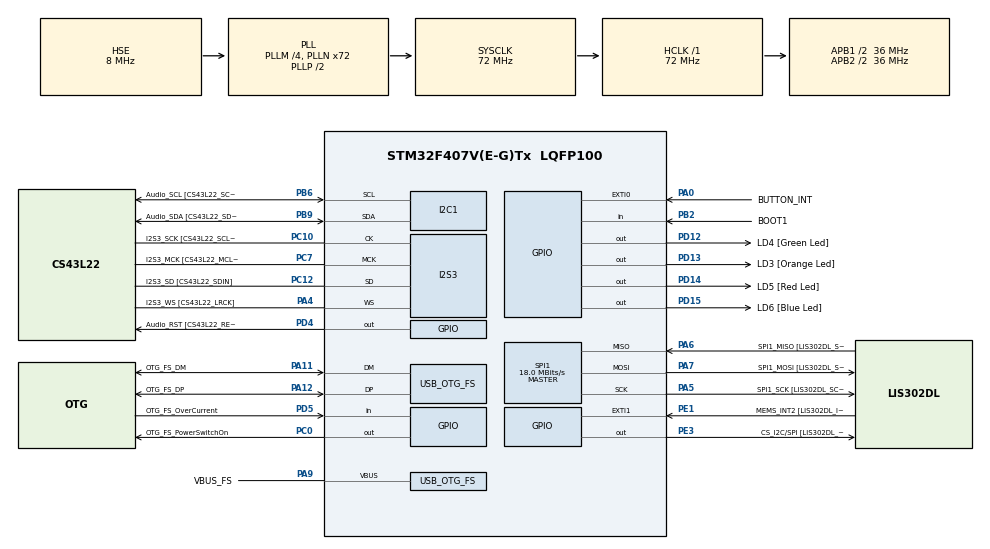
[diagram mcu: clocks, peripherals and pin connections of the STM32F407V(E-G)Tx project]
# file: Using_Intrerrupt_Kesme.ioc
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I2S3.AudioFreq=I2S_AUDIOFREQ_96K
I2S3.AudioFreq-Half_Duplex_Master=I2S_AUDIOFREQ_96K
I2S3.ErrorAudioFreq=- %
I2S3.ErrorAudioFreq-Half_Duplex_Master=0.8 %
I2S3.FullDuplexMode=I2S_FULLDUPLEXMODE_DISABLE
I2S3.Instance=SPI$Index
I2S3.RealAudioFreq=- Hz
I2S3.RealAudioFreq-Half_Duplex_Master=96.774 KHz
I2S3.VirtualMode=I2S_MODE_MASTER
Mcu.Family=STM32F4
Mcu.Name=STM32F407V(E-G)Tx
Mcu.Package=LQFP100
NVIC.EXTI0_IRQn=true\:0\:0\:false\:false\:true\:true\:true\:true
NVIC.OTG_FS_IRQn=true\:0\:0\:false\:false\:true\:true\:true\:true
NVIC.PriorityGroup=NVIC_PRIORITYGROUP_0
PA0-WKUP.GPIO_Label=BUTTON_INT
PA0-WKUP.Signal=GPXTI0
PA10.GPIO_Label=OTG_FS_ID
PA10.GPIO_Mode=GPIO_MODE_AF_PP
PA10.GPIO_PuPd=GPIO_NOPULL
PA10.GPIO_Speed=GPIO_SPEED_FREQ_LOW
PA10.Signal=USB_OTG_FS_ID
PA11.GPIO_Label=OTG_FS_DM
PA11.GPIO_Mode=GPIO_MODE_AF_PP
PA11.GPIO_PuPd=GPIO_NOPULL
PA11.GPIO_Speed=GPIO_SPEED_FREQ_LOW
PA11.Mode=Host_Only
PA11.Signal=USB_OTG_FS_DM
PA12.GPIO_Label=OTG_FS_DP
PA12.GPIO_Mode=GPIO_MODE_AF_PP
PA12.GPIO_PuPd=GPIO_NOPULL
PA12.GPIO_Speed=GPIO_SPEED_FREQ_LOW
PA12.Mode=Host_Only
PA12.Signal=USB_OTG_FS_DP
PA13.GPIO_Label=SWDIO
PA13.Mode=Serial_Wire
PA13.Signal=SYS_JTMS-SWDIO
PA14.GPIO_Label=SWCLK
PA14.Mode=Serial_Wire
PA14.Signal=SYS_JTCK-SWCLK
PA4.GPIO_Label=I2S3_WS [CS43L22_LRCK]
PA4.GPIO_Mode=GPIO_MODE_AF_PP
PA4.GPIO_PuPd=GPIO_NOPULL
PA4.GPIO_Speed=GPIO_SPEED_FREQ_LOW
PA4.Mode=Half_Duplex_Master
PA4.Signal=I2S3_WS
PA5.GPIO_Label=SPI1_SCK [LIS302DL_SCL/SPC]
PA5.GPIO_Mode=GPIO_MODE_AF_PP
PA5.GPIO_PuPd=GPIO_NOPULL
PA5.GPIO_Speed=GPIO_SPEED_FREQ_LOW
PA5.Mode=Full_Duplex_Master
PA5.Signal=SPI1_SCK
PA6.GPIO_Label=SPI1_MISO [LIS302DL_SDO]
PA6.GPIO_Mode=GPIO_MODE_AF_PP
PA6.GPIO_PuPd=GPIO_NOPULL
PA6.GPIO_Speed=GPIO_SPEED_FREQ_LOW
PA6.Mode=Full_Duplex_Master
PA6.Signal=SPI1_MISO
PA7.GPIO_Label=SPI1_MOSI [LIS302DL_SDA/SDI/SDO]
PA7.GPIO_Mode=GPIO_MODE_AF_PP
PA7.GPIO_PuPd=GPIO_NOPULL
PA7.GPIO_Speed=GPIO_SPEED_FREQ_LOW
PA7.Mode=Full_Duplex_Master
PA7.Signal=SPI1_MOSI
PA9.GPIO_Label=VBUS_FS
PA9.GPIO_Mode=GPIO_MODE_INPUT
PA9.GPIO_PuPd=GPIO_NOPULL
PA9.Mode=Activate_VBUS
PA9.Signal=USB_OTG_FS_VBUS
PB10.GPIO_Label=CLK_IN [MP45DT02_CLK]
PB10.GPIO_Mode=GPIO_MODE_AF_PP
PB10.GPIO_PuPd=GPIO_NOPULL
PB10.GPIO_Speed=GPIO_SPEED_FREQ_LOW
PB10.Signal=I2S2_CK
PB2.GPIO_Label=BOOT1
PB2.GPIO_Mode=GPIO_MODE_INPUT
PB2.GPIO_PuPd=GPIO_NOPULL
PB2.Signal=GPIO_Input
PB3.GPIO_Label=SWO
PB3.Signal=SYS_JTDO-SWO
PB6.GPIO_Label=Audio_SCL [CS43L22_SCL]
PB6.GPIO_Mode=GPIO_MODE_AF_OD
PB6.GPIO_Pu=GPIO_PULLUP
PB6.GPIO_PuPd=GPIO_NOPULL
PB6.GPIO_Speed=GPIO_SPEED_FREQ_LOW
PB6.Mode=I2C
PB6.Signal=I2C1_SCL
PB9.GPIO_Label=Audio_SDA [CS43L22_SDA]
PB9.GPIO_Mode=GPIO_MODE_AF_OD
PB9.GPIO_Pu=GPIO_PULLUP
PB9.GPIO_PuPd=GPIO_NOPULL
PB9.GPIO_Speed=GPIO_SPEED_FREQ_LOW
PB9.Mode=I2C
PB9.Signal=I2C1_SDA
PC0.GPIO_Label=OTG_FS_PowerSwitchOn
PC0.GPIO_PuPd=GPIO_NOPULL
PC0.GPIO_Speed=GPIO_SPEED_FREQ_LOW
PC0.PinState=GPIO_PIN_SET
PC0.Signal=GPIO_Output
PC10.GPIO_Label=I2S3_SCK [CS43L22_SCLK]
PC10.GPIO_Mode=GPIO_MODE_AF_PP
PC10.GPIO_PuPd=GPIO_NOPULL
PC10.GPIO_Speed=GPIO_SPEED_FREQ_LOW
PC10.Mode=Half_Duplex_Master
PC10.Signal=I2S3_CK
PC12.GPIO_Label=I2S3_SD [CS43L22_SDIN]
PC12.GPIO_Mode=GPIO_MODE_AF_PP
PC12.GPIO_PuPd=GPIO_NOPULL
PC12.GPIO_Speed=GPIO_SPEED_FREQ_LOW
PC12.Mode=Half_Duplex_Master
PC12.Signal=I2S3_SD
PC14-OSC32_IN.GPIO_Label=PC14-OSC32_IN
PC14-OSC32_IN.Mode=LSE-External-Oscillator
PC14-OSC32_IN.Signal=RCC_OSC32_IN
PC15-OSC32_OUT.GPIO_Label=PC15-OSC32_OUT
PC15-OSC32_OUT.Mode=LSE-External-Oscillator
PC15-OSC32_OUT.Signal=RCC_OSC32_OUT
PC3.GPIO_Label=PDM_OUT [MP45DT02_DOUT]
PC3.GPIO_Mode=GPIO_MODE_AF_PP
PC3.GPIO_PuPd=GPIO_NOPULL
PC3.GPIO_Speed=GPIO_SPEED_FREQ_LOW
PC3.Signal=I2S2_SD
PC7.GPIO_Label=I2S3_MCK [CS43L22_MCLK]
PC7.GPIO_Mode=GPIO_MODE_AF_PP
PC7.GPIO_PuPd=GPIO_NOPULL
PC7.GPIO_Speed=GPIO_SPEED_FREQ_LOW
PC7.Mode=Master_Clock_Activated
PC7.Signal=I2S3_MCK
PD12.GPIO_Label=LD4 [Green Led]
PD12.GPIO_PuPd=GPIO_NOPULL
PD12.GPIO_Speed=GPIO_SPEED_FREQ_LOW
PD12.Signal=GPIO_Output
PD13.GPIO_Label=LD3 [Orange Led]
PD13.GPIO_PuPd=GPIO_NOPULL
PD13.GPIO_Speed=GPIO_SPEED_FREQ_LOW
PD13.Signal=GPIO_Output
PD14.GPIO_Label=LD5 [Red Led]
PD14.GPIO_PuPd=GPIO_NOPULL
PD14.GPIO_Speed=GPIO_SPEED_FREQ_LOW
PD14.Signal=GPIO_Output
PD15.GPIO_Label=LD6 [Blue Led]
PD15.GPIO_PuPd=GPIO_NOPULL
PD15.GPIO_Speed=GPIO_SPEED_FREQ_LOW
PD15.Signal=GPIO_Output
PD4.GPIO_Label=Audio_RST [CS43L22_RESET]
PD4.GPIO_PuPd=GPIO_NOPULL
PD4.GPIO_Speed=GPIO_SPEED_FREQ_LOW
PD4.Signal=GPIO_Output
PD5.GPIO_Label=OTG_FS_OverCurrent
PD5.GPIO_Mode=GPIO_MODE_INPUT
PD5.GPIO_PuPd=GPIO_NOPULL
PD5.Signal=GPIO_Input
PE1.GPIO_Label=MEMS_INT2 [LIS302DL_INT2]
PE1.GPIO_ModeDefaultEXTI=GPIO_MODE_EVT_RISING
PE1.GPIO_PuPd=GPIO_NOPULL
PE1.Signal=GPXTI1
PE3.GPIO_Label=CS_I2C/SPI [LIS302DL_CS_I2C/SPI]
PE3.GPIO_PuPd=GPIO_NOPULL
PE3.GPIO_Speed=GPIO_SPEED_FREQ_LOW
PE3.Signal=GPIO_Output
PH0-OSC_IN.GPIO_Label=PH0-OSC_IN
PH0-OSC_IN.Mode=HSE-External-Oscillator
PH0-OSC_IN.Signal=RCC_OSC_IN
PH1-OSC_OUT.GPIO_Label=PH1-OSC_OUT
PH1-OSC_OUT.Mode=HSE-External-Oscillator
PH1-OSC_OUT.Signal=RCC_OSC_OUT
ProjectManager.HeapSize=0x200
ProjectManager.StackSize=0x400
ProjectManager.TargetToolchain=STM32CubeIDE
RCC.48MHZClocksFreq_Value=48000000
RCC.AHBFreq_Value=72000000
RCC.APB1CLKDivider=RCC_HCLK_DIV2
RCC.APB1Freq_Value=36000000
RCC.APB1TimFreq_Value=72000000
RCC.APB2CLKDivider=RCC_HCLK_DIV2
RCC.APB2Freq_Value=36000000
RCC.APB2TimFreq_Value=72000000
RCC.CortexFreq_Value=72000000
RCC.HCLKFreq_Value=72000000
RCC.HSE_VALUE=8000000
RCC.HSI_VALUE=16000000
RCC.PLLI2SN=50
RCC.PLLM=4
RCC.PLLN=72
RCC.PLLQ=3
RCC.SYSCLKFreq_VALUE=72000000
RCC.SYSCLKSource=RCC_SYSCLKSOURCE_PLLCLK
RCC.VCOOutputFreq_Value=144000000
SPI1.BaudRatePrescaler-Full_Duplex_Master=SPI_BAUDRATEPRESCALER_2
SPI1.CalculateBaudRate=18.0 MBits/s
SPI1.CalculateBaudRate-Full_Duplex_Master=42.0 MBits/s
SPI1.Direction=SPI_DIRECTION_2LINES
SPI1.Mode=SPI_MODE_MASTER
SPI1.Mode-Full_Duplex_Master=SPI_MODE_MASTER
SPI1.VirtualType=VM_MASTER
TIM1.Prescaler=1440-1
USB_HOST.BSP.number=1
USB_HOST.USBH_HandleTypeDef-CDC_FS=hUsbHostFS
USB_HOST.VirtualModeFS=Cdc
USB_HOST0.BSP.STBoard=false
USB_HOST0.BSP.api=Unknown
USB_HOST0.BSP.instance=PC0
USB_HOST0.BSP.ip=GPIO
USB_HOST0.BSP.mode=Output
USB_HOST0.BSP.name=Drive_VBUS_FS
USB_HOST0.BSP.solution=PC0
USB_OTG_FS.VirtualMode=Host_Only
USB_OTG_FS.phy_itface=HCD_PHY_EMBEDDED
VP_TIM1_VS_ClockSourceINT.Mode=Internal
VP_USB_HOST_VS_USB_HOST_CDC_FS.Mode=CDC_FS
board=STM32F407G-DISC1

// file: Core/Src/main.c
/* USER CODE BEGIN Header */
/**
  ******************************************************************************
  * @file           : main.c
  * @brief          : Main program body
  ******************************************************************************
  * @attention
  *
  * Copyright (c) 2024 STMicroelectronics.
  * All rights reserved.
  *
  * This software is licensed under terms that can be found in the LICENSE file
  * in the root directory of this software component.
  * If no LICENSE file comes with this software, it is provided AS-IS.
  *
  ******************************************************************************
  */
/* USER CODE END Header */
#include "main.h"
#include "usb_host.h"

I2C_HandleTypeDef hi2c1;

I2S_HandleTypeDef hi2s3;

SPI_HandleTypeDef hspi1;

TIM_HandleTypeDef htim1;

/* USER CODE BEGIN PV */

int delay = 250;

/* USER CODE END PV */

void SystemClock_Config(void);
static void MX_GPIO_Init(void);
static void MX_I2C1_Init(void);
static void MX_I2S3_Init(void);
static void MX_SPI1_Init(void);
static void MX_TIM1_Init(void);
void MX_USB_HOST_Process(void);

int main(void)
{

  /* MCU Configuration--------------------------------------------------------*/

  /* Reset of all peripherals, Initializes the Flash interface and the Systick. */
  HAL_Init();

  /* Configure the system clock */
  SystemClock_Config();

  /* Initialize all configured peripherals */
  MX_GPIO_Init();
  MX_I2C1_Init();
  MX_I2S3_Init();
  MX_SPI1_Init();
  MX_USB_HOST_Init();
  MX_TIM1_Init();

  /* Infinite loop */
  while (1)
  {
    MX_USB_HOST_Process();

    /* USER CODE BEGIN 3 */

        		HAL_Delay(delay);
     	    	HAL_GPIO_WritePin(LD4_GPIO_Port, LD4_Pin, 1);
        		HAL_Delay(delay);
     	    	HAL_GPIO_WritePin(LD3_GPIO_Port, LD3_Pin, 1);
        		HAL_Delay(delay);
     	    	HAL_GPIO_WritePin(LD5_GPIO_Port, LD5_Pin, 1);
        		HAL_Delay(delay);
     	    	HAL_GPIO_WritePin(LD6_GPIO_Port, LD6_Pin, 1);
        		HAL_Delay(delay);
     	    	HAL_GPIO_WritePin(LD4_GPIO_Port, LD4_Pin, 0);
        		HAL_Delay(delay);
     	    	HAL_GPIO_WritePin(LD3_GPIO_Port, LD3_Pin, 0);
        		HAL_Delay(delay);
     	    	HAL_GPIO_WritePin(LD5_GPIO_Port, LD5_Pin, 0);
        		HAL_Delay(delay);
        		HAL_GPIO_WritePin(LD6_GPIO_Port, LD6_Pin, 0);
        		HAL_Delay(delay);
        		 	    	HAL_GPIO_WritePin(LD6_GPIO_Port, LD6_Pin, 1);
        		    		HAL_Delay(delay);
        		 	    	HAL_GPIO_WritePin(LD5_GPIO_Port, LD5_Pin, 1);
        		    		HAL_Delay(delay);
        		 	    	HAL_GPIO_WritePin(LD3_GPIO_Port, LD3_Pin, 1);
        		    		HAL_Delay(delay);
        		 	    	HAL_GPIO_WritePin(LD4_GPIO_Port, LD4_Pin, 1);
        		    		HAL_Delay(delay);
        		 	    	HAL_GPIO_WritePin(LD6_GPIO_Port, LD6_Pin, 0);
        		    		HAL_Delay(delay);
        		 	    	HAL_GPIO_WritePin(LD5_GPIO_Port, LD5_Pin, 0);
        		    		HAL_Delay(delay);
        		 	    	HAL_GPIO_WritePin(LD3_GPIO_Port, LD3_Pin, 0);
        		    		HAL_Delay(delay);
        		    		HAL_GPIO_WritePin(LD4_GPIO_Port, LD4_Pin, 0);
        		    		HAL_Delay(delay);

  }
  /* USER CODE END 3 */
}

void SystemClock_Config(void)
{
  RCC_OscInitTypeDef RCC_OscInitStruct = {0};
  RCC_ClkInitTypeDef RCC_ClkInitStruct = {0};

  /** Configure the main internal regulator output voltage
  */
  __HAL_RCC_PWR_CLK_ENABLE();
  __HAL_PWR_VOLTAGESCALING_CONFIG(PWR_REGULATOR_VOLTAGE_SCALE1);

  /** Initializes the RCC Oscillators according to the specified parameters
  * in the RCC_OscInitTypeDef structure.
  */
  RCC_OscInitStruct.OscillatorType = RCC_OSCILLATORTYPE_HSE;
  RCC_OscInitStruct.HSEState = RCC_HSE_ON;
  RCC_OscInitStruct.PLL.PLLState = RCC_PLL_ON;
  RCC_OscInitStruct.PLL.PLLSource = RCC_PLLSOURCE_HSE;
  RCC_OscInitStruct.PLL.PLLM = 4;
  RCC_OscInitStruct.PLL.PLLN = 72;
  RCC_OscInitStruct.PLL.PLLP = RCC_PLLP_DIV2;
  RCC_OscInitStruct.PLL.PLLQ = 3;
  if (HAL_RCC_OscConfig(&RCC_OscInitStruct) != HAL_OK)
  {
    Error_Handler();
  }

  /** Initializes the CPU, AHB and APB buses clocks
  */
  RCC_ClkInitStruct.ClockType = RCC_CLOCKTYPE_HCLK|RCC_CLOCKTYPE_SYSCLK
                              |RCC_CLOCKTYPE_PCLK1|RCC_CLOCKTYPE_PCLK2;
  RCC_ClkInitStruct.SYSCLKSource = RCC_SYSCLKSOURCE_PLLCLK;
  RCC_ClkInitStruct.AHBCLKDivider = RCC_SYSCLK_DIV1;
  RCC_ClkInitStruct.APB1CLKDivider = RCC_HCLK_DIV2;
  RCC_ClkInitStruct.APB2CLKDivider = RCC_HCLK_DIV2;

  if (HAL_RCC_ClockConfig(&RCC_ClkInitStruct, FLASH_LATENCY_2) != HAL_OK)
  {
    Error_Handler();
  }
}

static void MX_I2C1_Init(void)
{

  hi2c1.Instance = I2C1;
  hi2c1.Init.ClockSpeed = 100000;
  hi2c1.Init.DutyCycle = I2C_DUTYCYCLE_2;
  hi2c1.Init.OwnAddress1 = 0;
  hi2c1.Init.AddressingMode = I2C_ADDRESSINGMODE_7BIT;
  hi2c1.Init.DualAddressMode = I2C_DUALADDRESS_DISABLE;
  hi2c1.Init.OwnAddress2 = 0;
  hi2c1.Init.GeneralCallMode = I2C_GENERALCALL_DISABLE;
  hi2c1.Init.NoStretchMode = I2C_NOSTRETCH_DISABLE;
  if (HAL_I2C_Init(&hi2c1) != HAL_OK)
  {
    Error_Handler();
  }

}

static void MX_I2S3_Init(void)
{

  hi2s3.Instance = SPI3;
  hi2s3.Init.Mode = I2S_MODE_MASTER_TX;
  hi2s3.Init.Standard = I2S_STANDARD_PHILIPS;
  hi2s3.Init.DataFormat = I2S_DATAFORMAT_16B;
  hi2s3.Init.MCLKOutput = I2S_MCLKOUTPUT_ENABLE;
  hi2s3.Init.AudioFreq = I2S_AUDIOFREQ_96K;
  hi2s3.Init.CPOL = I2S_CPOL_LOW;
  hi2s3.Init.ClockSource = I2S_CLOCK_PLL;
  hi2s3.Init.FullDuplexMode = I2S_FULLDUPLEXMODE_DISABLE;
  if (HAL_I2S_Init(&hi2s3) != HAL_OK)
  {
    Error_Handler();
  }

}

static void MX_SPI1_Init(void)
{

  /* SPI1 parameter configuration*/
  hspi1.Instance = SPI1;
  hspi1.Init.Mode = SPI_MODE_MASTER;
  hspi1.Init.Direction = SPI_DIRECTION_2LINES;
  hspi1.Init.DataSize = SPI_DATASIZE_8BIT;
  hspi1.Init.CLKPolarity = SPI_POLARITY_LOW;
  hspi1.Init.CLKPhase = SPI_PHASE_1EDGE;
  hspi1.Init.NSS = SPI_NSS_SOFT;
  hspi1.Init.BaudRatePrescaler = SPI_BAUDRATEPRESCALER_2;
  hspi1.Init.FirstBit = SPI_FIRSTBIT_MSB;
  hspi1.Init.TIMode = SPI_TIMODE_DISABLE;
  hspi1.Init.CRCCalculation = SPI_CRCCALCULATION_DISABLE;
  hspi1.Init.CRCPolynomial = 10;
  if (HAL_SPI_Init(&hspi1) != HAL_OK)
  {
    Error_Handler();
  }

}

static void MX_TIM1_Init(void)
{

  TIM_ClockConfigTypeDef sClockSourceConfig = {0};
  TIM_MasterConfigTypeDef sMasterConfig = {0};

  htim1.Instance = TIM1;
  htim1.Init.Prescaler = 1440-1;
  htim1.Init.CounterMode = TIM_COUNTERMODE_UP;
  htim1.Init.Period = 65535;
  htim1.Init.ClockDivision = TIM_CLOCKDIVISION_DIV1;
  htim1.Init.RepetitionCounter = 0;
  htim1.Init.AutoReloadPreload = TIM_AUTORELOAD_PRELOAD_DISABLE;
  if (HAL_TIM_Base_Init(&htim1) != HAL_OK)
  {
    Error_Handler();
  }
  sClockSourceConfig.ClockSource = TIM_CLOCKSOURCE_INTERNAL;
  if (HAL_TIM_ConfigClockSource(&htim1, &sClockSourceConfig) != HAL_OK)
  {
    Error_Handler();
  }
  sMasterConfig.MasterOutputTrigger = TIM_TRGO_RESET;
  sMasterConfig.MasterSlaveMode = TIM_MASTERSLAVEMODE_DISABLE;
  if (HAL_TIMEx_MasterConfigSynchronization(&htim1, &sMasterConfig) != HAL_OK)
  {
    Error_Handler();
  }

}

static void MX_GPIO_Init(void)
{
  GPIO_InitTypeDef GPIO_InitStruct = {0};

  /* GPIO Ports Clock Enable */
  __HAL_RCC_GPIOE_CLK_ENABLE();
  __HAL_RCC_GPIOC_CLK_ENABLE();
  __HAL_RCC_GPIOH_CLK_ENABLE();
  __HAL_RCC_GPIOA_CLK_ENABLE();
  __HAL_RCC_GPIOB_CLK_ENABLE();
  __HAL_RCC_GPIOD_CLK_ENABLE();

  /*Configure GPIO pin Output Level */
  HAL_GPIO_WritePin(CS_I2C_SPI_GPIO_Port, CS_I2C_SPI_Pin, GPIO_PIN_RESET);

  /*Configure GPIO pin Output Level */
  HAL_GPIO_WritePin(OTG_FS_PowerSwitchOn_GPIO_Port, OTG_FS_PowerSwitchOn_Pin, GPIO_PIN_SET);

  /*Configure GPIO pin Output Level */
  HAL_GPIO_WritePin(GPIOD, LD4_Pin|LD3_Pin|LD5_Pin|LD6_Pin
                          |Audio_RST_Pin, GPIO_PIN_RESET);

  /*Configure GPIO pin : CS_I2C_SPI_Pin */
  GPIO_InitStruct.Pin = CS_I2C_SPI_Pin;
  GPIO_InitStruct.Mode = GPIO_MODE_OUTPUT_PP;
  GPIO_InitStruct.Pull = GPIO_NOPULL;
  GPIO_InitStruct.Speed = GPIO_SPEED_FREQ_LOW;
  HAL_GPIO_Init(CS_I2C_SPI_GPIO_Port, &GPIO_InitStruct);

  /*Configure GPIO pin : OTG_FS_PowerSwitchOn_Pin */
  GPIO_InitStruct.Pin = OTG_FS_PowerSwitchOn_Pin;
  GPIO_InitStruct.Mode = GPIO_MODE_OUTPUT_PP;
  GPIO_InitStruct.Pull = GPIO_NOPULL;
  GPIO_InitStruct.Speed = GPIO_SPEED_FREQ_LOW;
  HAL_GPIO_Init(OTG_FS_PowerSwitchOn_GPIO_Port, &GPIO_InitStruct);

  /*Configure GPIO pin : PDM_OUT_Pin */
  GPIO_InitStruct.Pin = PDM_OUT_Pin;
  GPIO_InitStruct.Mode = GPIO_MODE_AF_PP;
  GPIO_InitStruct.Pull = GPIO_NOPULL;
  GPIO_InitStruct.Speed = GPIO_SPEED_FREQ_LOW;
  GPIO_InitStruct.Alternate = GPIO_AF5_SPI2;
  HAL_GPIO_Init(PDM_OUT_GPIO_Port, &GPIO_InitStruct);

  /*Configure GPIO pin : BUTTON_INT_Pin */
  GPIO_InitStruct.Pin = BUTTON_INT_Pin;
  GPIO_InitStruct.Mode = GPIO_MODE_IT_RISING;
  GPIO_InitStruct.Pull = GPIO_NOPULL;
  HAL_GPIO_Init(BUTTON_INT_GPIO_Port, &GPIO_InitStruct);

  /*Configure GPIO pin : BOOT1_Pin */
  GPIO_InitStruct.Pin = BOOT1_Pin;
  GPIO_InitStruct.Mode = GPIO_MODE_INPUT;
  GPIO_InitStruct.Pull = GPIO_NOPULL;
  HAL_GPIO_Init(BOOT1_GPIO_Port, &GPIO_InitStruct);

  /*Configure GPIO pin : CLK_IN_Pin */
  GPIO_InitStruct.Pin = CLK_IN_Pin;
  GPIO_InitStruct.Mode = GPIO_MODE_AF_PP;
  GPIO_InitStruct.Pull = GPIO_NOPULL;
  GPIO_InitStruct.Speed = GPIO_SPEED_FREQ_LOW;
  GPIO_InitStruct.Alternate = GPIO_AF5_SPI2;
  HAL_GPIO_Init(CLK_IN_GPIO_Port, &GPIO_InitStruct);

  /*Configure GPIO pins : LD4_Pin LD3_Pin LD5_Pin LD6_Pin
                           Audio_RST_Pin */
  GPIO_InitStruct.Pin = LD4_Pin|LD3_Pin|LD5_Pin|LD6_Pin
                          |Audio_RST_Pin;
  GPIO_InitStruct.Mode = GPIO_MODE_OUTPUT_PP;
  GPIO_InitStruct.Pull = GPIO_NOPULL;
  GPIO_InitStruct.Speed = GPIO_SPEED_FREQ_LOW;
  HAL_GPIO_Init(GPIOD, &GPIO_InitStruct);

  /*Configure GPIO pin : OTG_FS_OverCurrent_Pin */
  GPIO_InitStruct.Pin = OTG_FS_OverCurrent_Pin;
  GPIO_InitStruct.Mode = GPIO_MODE_INPUT;
  GPIO_InitStruct.Pull = GPIO_NOPULL;
  HAL_GPIO_Init(OTG_FS_OverCurrent_GPIO_Port, &GPIO_InitStruct);

  /*Configure GPIO pin : MEMS_INT2_Pin */
  GPIO_InitStruct.Pin = MEMS_INT2_Pin;
  GPIO_InitStruct.Mode = GPIO_MODE_EVT_RISING;
  GPIO_InitStruct.Pull = GPIO_NOPULL;
  HAL_GPIO_Init(MEMS_INT2_GPIO_Port, &GPIO_InitStruct);

  /* EXTI interrupt init*/
  HAL_NVIC_SetPriority(EXTI0_IRQn, 0, 0);
  HAL_NVIC_EnableIRQ(EXTI0_IRQn);

}

/* USER CODE BEGIN 4 */
void HAL_GPIO_EXTI_Callback(uint16_t GPIO_Pin)
{
	HAL_GPIO_WritePin(LD6_GPIO_Port, LD6_Pin, 1);

	HAL_GPIO_WritePin(LD5_GPIO_Port, LD5_Pin, 0);

	HAL_GPIO_WritePin(LD3_GPIO_Port, LD3_Pin, 0);

	HAL_GPIO_WritePin(LD4_GPIO_Port, LD4_Pin, 1);

	HAL_Delay(2000);

}

/* USER CODE END 4 */

void Error_Handler(void)
{
  __disable_irq();
  while (1)
  {
  }
}
